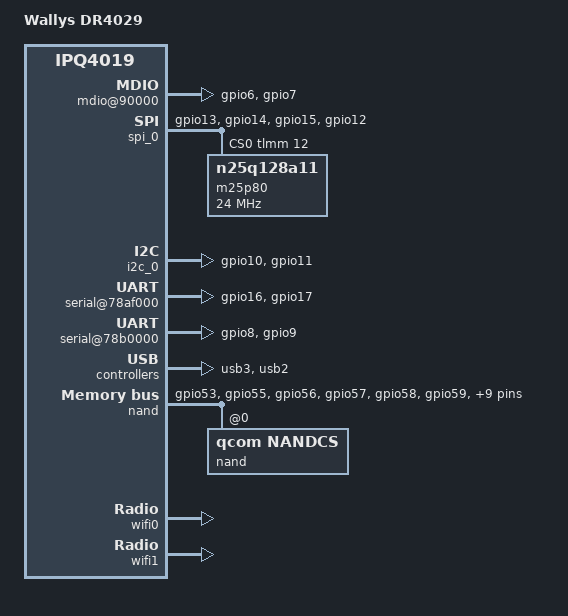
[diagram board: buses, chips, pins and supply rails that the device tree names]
/* Copyright (c) 2015, The Linux Foundation. All rights reserved.
 *
 * Permission to use, copy, modify, and/or distribute this software for any
 * purpose with or without fee is hereby granted, provided that the above
 * copyright notice and this permission notice appear in all copies.
 *
 * THE SOFTWARE IS PROVIDED "AS IS" AND THE AUTHOR DISCLAIMS ALL WARRANTIES
 * WITH REGARD TO THIS SOFTWARE INCLUDING ALL IMPLIED WARRANTIES OF
 * MERCHANTABILITY AND FITNESS. IN NO EVENT SHALL THE AUTHOR BE LIABLE FOR
 * ANY SPECIAL, DIRECT, INDIRECT, OR CONSEQUENTIAL DAMAGES OR ANY DAMAGES
 * WHATSOEVER RESULTING FROM LOSS OF USE, DATA OR PROFITS, WHETHER IN AN
 * ACTION OF CONTRACT, NEGLIGENCE OR OTHER TORTIOUS ACTION, ARISING OUT OF
 * OR IN CONNECTION WITH THE USE OR PERFORMANCE OF THIS SOFTWARE.
 *
 */

#include "qcom-ipq4019.dtsi"
#include <dt-bindings/gpio/gpio.h>

/ {
	model = "Wallys DR4029";
	compatible = "Wallys,DR4029", "qcom,ipq4019";

	soc {
		pinctrl@1000000 {
			serial_0_pins: serial_pinmux {
				mux {
					pins = "gpio16", "gpio17";
					function = "blsp_uart0";
					bias-disable;
				};
			};

			serial_1_pins: serial1_pinmux {
				mux {
					pins = "gpio8", "gpio9";
					function = "blsp_uart1";
					bias-disable;
				};
			};

			spi_0_pins: spi_0_pinmux {
				pinmux {
					function = "blsp_spi0";
					pins = "gpio13", "gpio14", "gpio15";
				};
				pinmux_cs {
					function = "gpio";
					pins = "gpio12";
				};
				pinconf {
					pins = "gpio13", "gpio14", "gpio15";
					drive-strength = <12>;
					bias-disable;
				};
				pinconf_cs {
					pins = "gpio12";
					drive-strength = <2>;
					bias-disable;
					output-high;
				};
			};

			i2c_0_pins: i2c_0_pinmux {
				pinmux {
					function = "blsp_i2c0";
					pins = "gpio10", "gpio11";
				};
				pinconf {
					pins = "gpio10", "gpio11";
					drive-strength = <16>;
					bias-disable;
				};
			};
                      /*
			nand_pins: nand_pins {

				pullups {
					pins = "gpio52", "gpio53", "gpio58",
						"gpio59";
					function = "qpic";
					bias-pull-up;
				};

				pulldowns {
					pins = "gpio54", "gpio55", "gpio56",
						"gpio57", "gpio60", "gpio61",
						"gpio62", "gpio63", "gpio64",
						"gpio65", "gpio66", "gpio67",
						"gpio68", "gpio69";
					function = "qpic";
					bias-pull-down;
				};
			};
                     */
			nand_pins: nand_pins {
				pins =  "gpio53", "gpio55","gpio56",
					"gpio57", "gpio58","gpio59",
					"gpio60", "gpio62","gpio63",
					"gpio64", "gpio65","gpio66",
					"gpio67", "gpio68","gpio69";
				function = "qpic";
			};
			mdio_pins: mdio_pinmux {
				mux_1 {
					pins = "gpio6";
					function = "mdio";
					bias-pull-up;
					};
				mux_2 {
					pins = "gpio7";
					function = "mdc";
					bias-pull-up;
				};
			};

		};
                
		mdio@90000 {
			status = "okay";
			pinctrl-0 = <&mdio_pins>;
			pinctrl-names = "default";
		};
        	/*
		mdio@90000{
			status ="okay";
		};
                */
		ess-psgmii@98000 {
			status = "okay";
		};

		edma@c080000 {
			status = "okay";
		};

		ess-switch@c000000 {
			status = "okay";
			switch_mac_mode = <0x0>;
			switch_initvlas = <0x0007c 0x54>;
		};

		blsp_dma: dma@7884000 {
			status = "okay";
		};

		spi_0: spi@78b5000 {
			pinctrl-0 = <&spi_0_pins>;
			pinctrl-names = "default";
			status = "okay";
			cs-gpios = <&tlmm 12 GPIO_ACTIVE_HIGH>;

			m25p80@0 {
				#address-cells = <1>;
				#size-cells = <1>;
				reg = <0>;
				compatible = "n25q128a11";
				spi-max-frequency = <24000000>;
			};
		};

		i2c_0: i2c@78b7000 { /* BLSP1 QUP2 */
			pinctrl-0 = <&i2c_0_pins>;
			pinctrl-names = "default";

			status = "okay";
		};

		serial@78af000 {
			pinctrl-0 = <&serial_0_pins>;
			pinctrl-names = "default";
			status = "okay";
		};

		serial@78b0000 {
			pinctrl-0 = <&serial_1_pins>;
			pinctrl-names = "default";
			status = "okay";
		};

		usb3_ss_phy: ssphy@9a000 {
			status = "okay";
		};

		usb3_hs_phy: hsphy@a6000 {
			status = "okay";
		};

		usb3: usb3@8af8800 {
			status = "okay";
		};

		usb2_hs_phy: hsphy@a8000 {
			status = "okay";
		};

		usb2: usb2@60f8800 {
			status = "okay";
		};

		cryptobam: dma@8e04000 {
			status = "okay";
		};

		crypto@8e3a000 {
			status = "okay";
		};

		watchdog@b017000 {
			status = "okay";
		};

		qpic_bam: dma@7984000 {
			status = "okay";
		};

		nand: qpic-nand@79b0000 {
			compatible = "qcom,ipq4019-nand","qcom,msm-nand";
			pinctrl-0 = <&nand_pins>;
			pinctrl-names = "default";
			status = "okay";
			nand@0 {
				compatible = "qcom,nandcs";
				reg       = <0>;
				#address-cells = <1>;
				#size-cells    = <1>;
				nand-ecc-strength = <4>;
				nand-ecc-step-size = <512>;
				nand-bus-width   = <8>;
			};
		};
	};
};


&wifi0 {
	status = "okay";
	qcom,ath10k-calibration-variant = "Wallys-DR4029";
//	qcom,ath10k-calibration-variant = "EnGenius-EAP1300";
//	qcom,ath10k-calibration-variant = "GL-B1300";
};

&wifi1 {
	status = "okay";
	qcom,ath10k-calibration-variant = "Wallys-DR4029";
//	qcom,ath10k-calibration-variant = "EnGenius-EAP1300";
//	qcom,ath10k-calibration-variant = "GL-B1300";
};

